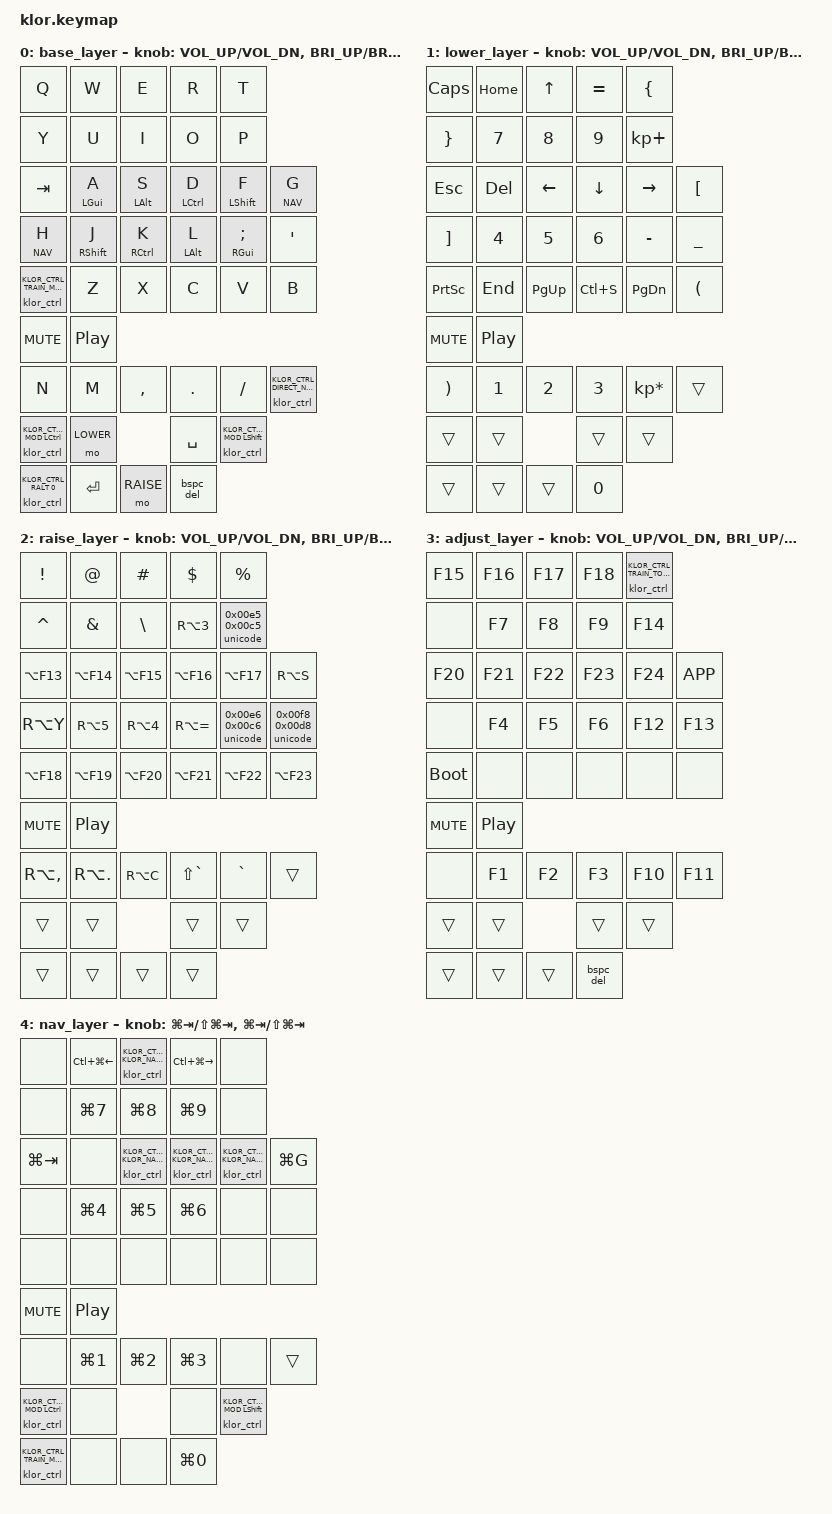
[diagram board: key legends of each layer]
#include <behaviors.dtsi>
#include <dt-bindings/zmk/keys.h>
#include <dt-bindings/zmk/modifiers.h>
#include <dt-bindings/klor/control.h>

#define BASE     0
#define LOWER    1
#define RAISE    2
#define ADJUST   3
#define NAV      4

/ {
    behaviors {
        klor_ctrl: klor_ctrl {
            compatible = "klor,behavior-control";
            #binding-cells = <2>;
            nav-layer = <NAV>;
            command-timeout-ms = <3000>;
            ralt-tap-window-ms = <350>;
        };

        hml: homerow_left {
            compatible = "zmk,behavior-hold-tap";
            #binding-cells = <2>;
            flavor = "balanced";
            tapping-term-ms = <180>;
            quick-tap-ms = <0>;
            require-prior-idle-ms = <120>;
            bindings = <&kp>, <&kp>;
            hold-trigger-on-release;
            hold-trigger-key-positions = <
                5 6 7 8 9
                16 17 18 19 20 21
                28 29 30 31 32 33 34 35
                36 37 38 39 40 41 42 43
            >;
        };

        hmr: homerow_right {
            compatible = "zmk,behavior-hold-tap";
            #binding-cells = <2>;
            flavor = "balanced";
            tapping-term-ms = <180>;
            quick-tap-ms = <0>;
            require-prior-idle-ms = <120>;
            bindings = <&kp>, <&kp>;
            hold-trigger-on-release;
            hold-trigger-key-positions = <
                0 1 2 3 4
                10 11 12 13 14 15
                22 23 24 25 26 27 28 29
                36 37 38 39 40 41 42 43
            >;
        };

        /* QMK SPECULATIVE_HOLD defaults to Ctrl/Shift mod-taps only. */
        hml_fast: homerow_left_speculative {
            compatible = "zmk,behavior-hold-tap";
            #binding-cells = <2>;
            flavor = "balanced";
            tapping-term-ms = <180>;
            quick-tap-ms = <0>;
            require-prior-idle-ms = <120>;
            bindings = <&kp>, <&kp>;
            hold-trigger-on-release;
            hold-while-undecided;
            hold-trigger-key-positions = <5 6 7 8 9 16 17 18 19 20 21
                28 29 30 31 32 33 34 35 36 37 38 39 40 41 42 43>;
        };

        hmr_fast: homerow_right_speculative {
            compatible = "zmk,behavior-hold-tap";
            #binding-cells = <2>;
            flavor = "balanced";
            tapping-term-ms = <180>;
            quick-tap-ms = <0>;
            require-prior-idle-ms = <120>;
            bindings = <&kp>, <&kp>;
            hold-trigger-on-release;
            hold-while-undecided;
            hold-trigger-key-positions = <0 1 2 3 4 10 11 12 13 14 15
                22 23 24 25 26 27 28 29 36 37 38 39 40 41 42 43>;
        };

        nav_l: nav_left_hold {
            compatible = "zmk,behavior-hold-tap";
            #binding-cells = <2>;
            flavor = "balanced";
            tapping-term-ms = <180>;
            quick-tap-ms = <0>;
            require-prior-idle-ms = <120>;
            bindings = <&mo>, <&kp>;
            hold-trigger-on-release;
            hold-trigger-key-positions = <
                5 6 7 8 9
                16 17 18 19 20 21
                28 29 30 31 32 33 34 35
                36 37 38 39 40 41 42 43
            >;
        };

        nav_r: nav_right_hold {
            compatible = "zmk,behavior-hold-tap";
            #binding-cells = <2>;
            flavor = "balanced";
            tapping-term-ms = <180>;
            quick-tap-ms = <0>;
            require-prior-idle-ms = <120>;
            bindings = <&mo>, <&kp>;
            hold-trigger-on-release;
            hold-trigger-key-positions = <
                0 1 2 3 4
                10 11 12 13 14 15
                22 23 24 25 26 27 28 29
                36 37 38 39 40 41 42 43
            >;
        };

        bspc_del: backspace_delete {
            compatible = "zmk,behavior-mod-morph";
            #binding-cells = <0>;
            bindings = <&kp BSPC>, <&kp DEL>;
            mods = <(MOD_LSFT | MOD_RSFT)>;
        };

        unicode: danish_unicode {
            compatible = "klor,behavior-unicode";
            #binding-cells = <2>;
        };
    };

    conditional_layers {
        compatible = "zmk,conditional-layers";

        adjust_layer {
            if-layers = <LOWER RAISE>;
            then-layer = <ADJUST>;
        };
    };

    keymap {
        compatible = "zmk,keymap";

        base_layer {
            bindings = <
                &kp Q                &kp W                &kp E                &kp R                &kp T
                &kp Y                &kp U                &kp I                &kp O                &kp P

                &kp TAB              &hml LGUI A          &hml LALT S          &hml_fast LCTRL D    &hml_fast LSHFT F    &nav_l NAV G
                &nav_r NAV H         &hmr_fast RSHFT J    &hmr_fast RCTRL K    &hmr LALT L          &hmr RGUI SEMI       &kp SQT

                &klor_ctrl KLOR_CTRL_TRAIN_MOD LGUI &kp Z                &kp X                &kp C                &kp V                &kp B
                &kp C_MUTE           &kp C_PP
                &kp N                &kp M                &kp COMMA            &kp DOT              &kp FSLH             &klor_ctrl KLOR_CTRL_DIRECT_NAV 0

                &klor_ctrl KLOR_CTRL_TRAIN_MOD LCTRL &mo LOWER            &kp SPACE            &klor_ctrl KLOR_CTRL_TRAIN_MOD LSHFT
                &klor_ctrl KLOR_CTRL_RALT 0 &kp ENTER            &mo RAISE            &bspc_del
            >;
            sensor-bindings = <
                &inc_dec_kp C_VOL_UP C_VOL_DN
                &inc_dec_kp C_BRI_UP C_BRI_DN
            >;
        };

        lower_layer {
            bindings = <
                &kp CAPS             &kp HOME             &kp UP               &kp EQUAL            &kp LBRC
                &kp RBRC             &kp N7               &kp N8               &kp N9               &kp KP_PLUS

                &kp ESC              &kp DEL              &kp LEFT             &kp DOWN             &kp RIGHT            &kp LBKT
                &kp RBKT             &kp N4               &kp N5               &kp N6               &kp MINUS            &kp UNDER

                &kp PSCRN            &kp END              &kp PG_UP            &kp LC(S)            &kp PG_DN            &kp LPAR
                &kp C_MUTE           &kp C_PP
                &kp RPAR             &kp N1               &kp N2               &kp N3               &kp KP_MULTIPLY      &trans

                &trans               &trans               &trans               &trans
                &trans               &trans               &trans               &kp N0
            >;
            sensor-bindings = <
                &inc_dec_kp C_VOL_UP C_VOL_DN
                &inc_dec_kp C_BRI_UP C_BRI_DN
            >;
        };

        raise_layer {
            bindings = <
                &kp EXCL             &kp AT               &kp HASH             &kp DLLR             &kp PRCNT
                &kp CARET            &kp AMPS             &kp BSLH             &kp RA(N3)           &unicode 0x00e5 0x00c5

                &kp LA(F13)          &kp LA(F14)          &kp LA(F15)          &kp LA(F16)          &kp LA(F17)          &kp RA(S)
                &kp RA(Y)            &kp RA(N5)           &kp RA(N4)           &kp RA(EQUAL)        &unicode 0x00e6 0x00c6 &unicode 0x00f8 0x00d8

                &kp LA(F18)          &kp LA(F19)          &kp LA(F20)          &kp LA(F21)          &kp LA(F22)          &kp LA(F23)
                &kp C_MUTE           &kp C_PP
                &kp RA(COMMA)        &kp RA(DOT)          &kp RA(C)            &kp LS(GRAVE)        &kp GRAVE            &trans

                &trans               &trans               &trans               &trans
                &trans               &trans               &trans               &trans
            >;
            sensor-bindings = <
                &inc_dec_kp C_VOL_UP C_VOL_DN
                &inc_dec_kp C_BRI_UP C_BRI_DN
            >;
        };

        adjust_layer {
            bindings = <
                &kp F15              &kp F16              &kp F17              &kp F18              &klor_ctrl KLOR_CTRL_TRAIN_TOGGLE 0
                &none                &kp F7               &kp F8               &kp F9               &kp F14

                &kp F20              &kp F21              &kp F22              &kp F23              &kp F24              &kp K_APP
                &none                &kp F4               &kp F5               &kp F6               &kp F12              &kp F13

                &bootloader          &none                &none                &none                &none                &none
                &kp C_MUTE           &kp C_PP
                &none                &kp F1               &kp F2               &kp F3               &kp F10              &kp F11

                &trans               &trans               &trans               &trans
                &trans               &trans               &trans               &bspc_del
            >;
            sensor-bindings = <
                &inc_dec_kp C_VOL_UP C_VOL_DN
                &inc_dec_kp C_BRI_UP C_BRI_DN
            >;
        };

        nav_layer {
            bindings = <
                &none                &kp LC(LG(LEFT))     &klor_ctrl KLOR_CTRL_NAV KLOR_NAV_UP &kp LC(LG(RIGHT))    &none
                &none                &kp LG(N7)           &kp LG(N8)           &kp LG(N9)           &none

                &kp LG(TAB)          &none                &klor_ctrl KLOR_CTRL_NAV KLOR_NAV_LEFT &klor_ctrl KLOR_CTRL_NAV KLOR_NAV_DOWN &klor_ctrl KLOR_CTRL_NAV KLOR_NAV_RIGHT &kp LG(G)
                &none                &kp LG(N4)           &kp LG(N5)           &kp LG(N6)           &none                &none

                &none                &none                &none                &none                &none                &none
                &kp C_MUTE           &kp C_PP
                &none                &kp LG(N1)           &kp LG(N2)           &kp LG(N3)           &none                &trans

                &klor_ctrl KLOR_CTRL_TRAIN_MOD LCTRL &none                &none                &klor_ctrl KLOR_CTRL_TRAIN_MOD LSHFT
                &klor_ctrl KLOR_CTRL_TRAIN_MOD LALT &none                &none                &kp LG(N0)
            >;
            sensor-bindings = <
                &inc_dec_kp LG(TAB) LS(LG(TAB))
                &inc_dec_kp LG(TAB) LS(LG(TAB))
            >;
        };

    };
};
